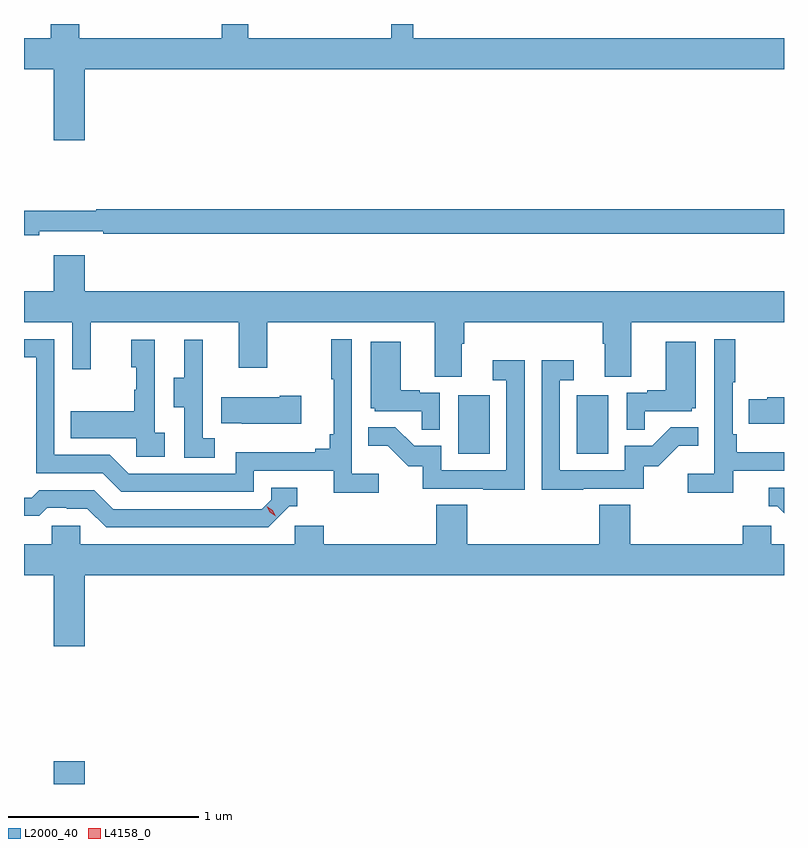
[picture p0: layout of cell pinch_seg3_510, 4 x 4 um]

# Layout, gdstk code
import gdstk
lib = gdstk.Library(unit=1e-6, precision=1e-09)
def R(c, l, rs):  # rectangles x0, y0, x1, y1
    for r in rs: c.add(gdstk.rectangle(r[:2], r[2:], *l))
def P(c, l, *ps):  # polygons
    for p in ps: c.add(gdstk.Polygon(p, *l))
L2000_40 = (2000, 40)
L4158_0 = (4158, 0)

pinch_seg3_510 = lib.new_cell('pinch_seg3_510')
R(pinch_seg3_510, L2000_40, [(968.204,670.514,968.368,670.633), (970.334,672.252,970.498,672.559), (970.958,672.252,971.122,672.559)])
P(pinch_seg3_510, L2000_40, [(968.368,674.276),(972.048,674.276),(972.048,674.44),(970.097,674.44),(970.097,674.514),(969.981,674.514),(969.981,674.44),(969.229,674.44),(969.229,674.514),(969.09,674.514),(969.09,674.44),(968.34,674.44),(968.34,674.514),(968.189,674.514),(968.189,674.44),(968.048,674.44),(968.048,674.276),(968.204,674.276),(968.204,673.902),(968.368,673.902)],
  [(968.128,673.422),(968.464,673.422),(968.464,673.41),(972.048,673.41),(972.048,673.538),(968.428,673.538),(968.428,673.531),(968.048,673.531),(968.048,673.402),(968.128,673.402)],
  [(970.351,672.832),(970.364,672.832),(970.364,672.944),(971.093,672.944),(971.093,672.832),(971.105,672.832),(971.105,672.658),(971.245,672.658),(971.245,672.944),(972.048,672.944),(972.048,673.108),(968.368,673.108),(968.368,673.297),(968.204,673.297),(968.204,673.108),(968.048,673.108),(968.048,672.944),(968.301,672.944),(968.301,672.696),(968.399,672.696),(968.399,672.944),(969.179,672.944),(969.179,672.705),(969.327,672.705),(969.327,672.944),(970.211,672.944),(970.211,672.658),(970.351,672.658)],
  [(971.78,672.162),(972.048,672.162),(972.048,672.259),(971.798,672.259),(971.798,672.355),(971.778,672.355),(971.778,672.628),(971.791,672.628),(971.791,672.856),(971.682,672.856),(971.682,672.148),(971.541,672.148),(971.541,672.046),(971.78,672.046)],
  [(969.916,672.148),(969.774,672.148),(969.774,672.856),(969.666,672.856),(969.666,672.643),(969.677,672.643),(969.677,672.355),(969.658,672.355),(969.658,672.278),(969.581,672.278),(969.581,672.259),(969.162,672.259),(969.162,672.147),(968.598,672.147),(968.499,672.246),(968.208,672.246),(968.208,672.855),(968.048,672.855),(968.048,672.759),(968.112,672.759),(968.112,672.15),(968.462,672.15),(968.561,672.051),(969.258,672.051),(969.258,672.162),(969.677,672.162),(969.677,672.046),(969.916,672.046)],
  [(968.788,672.362),(968.736,672.362),(968.736,672.853),(968.612,672.853),(968.612,672.708),(968.638,672.708),(968.638,672.59),(968.628,672.59),(968.628,672.475),(968.293,672.475),(968.293,672.335),(968.64,672.335),(968.64,672.237),(968.788,672.237)],
  [(969.052,672.335),(968.988,672.335),(968.988,672.639),(968.99,672.639),(968.99,672.853),(968.891,672.853),(968.891,672.651),(968.837,672.651),(968.837,672.496),(968.892,672.496),(968.892,672.232),(969.052,672.232)],
  [(970.236,672.573),(970.13,672.573),(970.13,672.586),(970.03,672.586),(970.03,672.841),(969.872,672.841),(969.872,672.492),(969.894,672.492),(969.894,672.477),(970.141,672.477),(970.141,672.379),(970.236,672.379)],
  [(971.315,672.477),(971.562,672.477),(971.562,672.492),(971.584,672.492),(971.584,672.841),(971.426,672.841),(971.426,672.586),(971.327,672.586),(971.327,672.573),(971.22,672.573),(971.22,672.379),(971.315,672.379)],
  [(970.683,672.745),(970.515,672.745),(970.515,672.639),(970.587,672.639),(970.587,672.165),(970.245,672.165),(970.245,672.294),(970.101,672.294),(970.003,672.392),(969.859,672.392),(969.859,672.293),(969.963,672.293),(970.07,672.186),(970.147,672.186),(970.147,672.069),(970.465,672.069),(970.465,672.064),(970.683,672.064)],
  [(970.991,672.069),(971.31,672.069),(971.31,672.186),(971.386,672.186),(971.493,672.293),(971.597,672.293),(971.597,672.392),(971.453,672.392),(971.355,672.294),(971.211,672.294),(971.211,672.165),(970.869,672.165),(970.869,672.639),(970.942,672.639),(970.942,672.745),(970.773,672.745),(970.773,672.064),(970.991,672.064)],
  [(969.508,672.558),(969.395,672.558),(969.395,672.55),(969.085,672.55),(969.085,672.413),(969.193,672.413),(969.193,672.41),(969.508,672.41)],
  [(972.048,672.55),(971.961,672.55),(971.961,672.54),(971.863,672.54),(971.863,672.41),(972.048,672.41)],
  [(972.048,672.072),(971.969,672.072),(971.969,671.976),(972.012,671.976),(972.048,671.94)],
  [(969.444,671.976),(969.487,671.976),(969.487,672.072),(969.348,672.072),(969.348,672.009),(969.3,671.961),(968.517,671.961),(968.418,672.06),(968.129,672.06),(968.09,672.021),(968.048,672.021),(968.048,671.925),(968.129,671.925),(968.171,671.967),(968.274,671.967),(968.274,671.964),(968.381,671.964),(968.48,671.865),(969.333,671.865)],
  [(968.368,671.612),(972.048,671.612),(972.048,671.776),(971.982,671.776),(971.982,671.874),(971.831,671.874),(971.831,671.776),(971.24,671.776),(971.24,671.984),(971.075,671.984),(971.075,671.776),(970.382,671.776),(970.382,671.984),(970.217,671.984),(970.217,671.776),(969.626,671.776),(969.626,671.874),(969.474,671.874),(969.474,671.776),(968.343,671.776),(968.343,671.874),(968.193,671.874),(968.193,671.776),(968.048,671.776),(968.048,671.612),(968.204,671.612),(968.204,671.238),(968.368,671.238)])
P(pinch_seg3_510, L4158_0, [(969.372,671.924),(969.341,671.943),(969.325,671.975),(969.325,671.975),(969.325,671.975),(969.356,671.956),(969.372,671.924),(969.372,671.924)])

lib.write_gds('pinch_seg3_510.gds')
